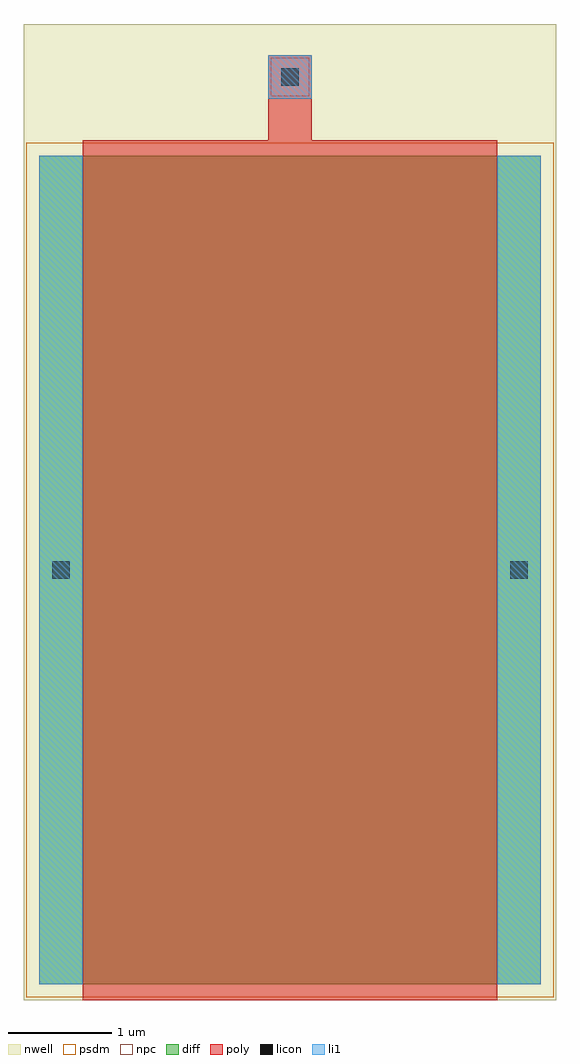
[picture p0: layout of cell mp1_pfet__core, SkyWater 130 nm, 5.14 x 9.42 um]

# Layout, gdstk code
import gdstk
lib = gdstk.Library(unit=1e-6, precision=1e-09)
def R(c, l, rs):  # rectangles x0, y0, x1, y1
    for r in rs: c.add(gdstk.rectangle(r[:2], r[2:], *l))
nwell = (64, 20)
diff = (65, 20)
poly = (66, 20)
licon = (66, 44)
li1 = (67, 20)
psdm = (94, 20)
npc = (95, 20)

mp1_pfet__core = lib.new_cell('mp1_pfet__core')
R(mp1_pfet__core, nwell, [(-0.15,-0.15,4.99,9.27)])
R(mp1_pfet__core, diff, [(0,0,4.84,8)])
R(mp1_pfet__core, poly, [(0.42,-0.15,4.42,8), (0.42,8,4.42,8.15), (0.42,8,4.42,8.15), (2.21,8.15,2.63,8.97)])
R(mp1_pfet__core, licon, [(0.125,3.915,0.295,4.085), (4.545,3.915,4.715,4.085), (2.335,8.675,2.505,8.845)])
R(mp1_pfet__core, li1, [(0,0,0.42,8), (4.42,0,4.84,8), (2.21,8.55,2.63,8.97)])
R(mp1_pfet__core, psdm, [(-0.125,-0.125,4.965,8.125)])
R(mp1_pfet__core, npc, [(2.235,8.575,2.605,8.945)])

lib.write_gds('mp1_pfet__core.gds')
